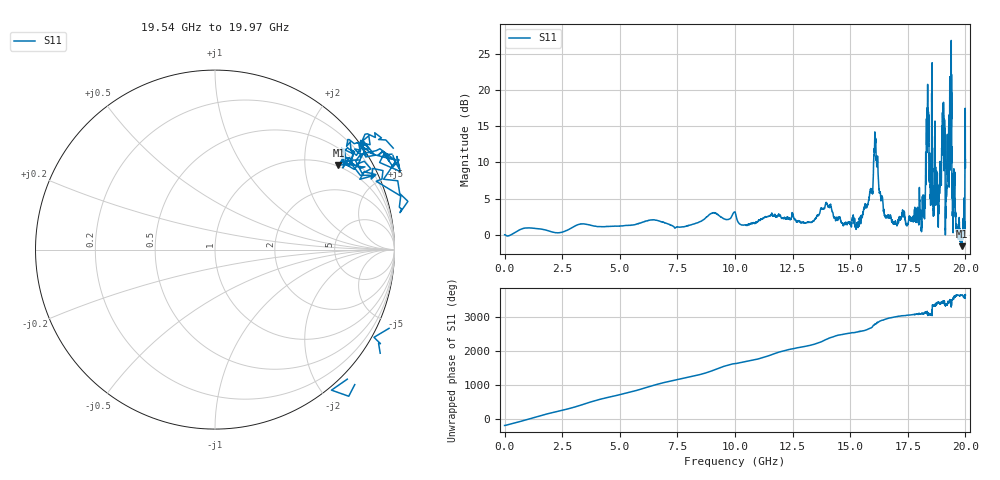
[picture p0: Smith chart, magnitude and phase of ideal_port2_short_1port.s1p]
! Created with skrf 1.8.0 (http://scikit-rf.org).
# GHz S RI R 50.0
!freq ReS11 ImS11
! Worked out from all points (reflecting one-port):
!   10001 points, 1 MHz to 20 GHz, reference 50 ohm
!   lowest |S11| = -1.6 dB at 19.84 GHz (marker M1), VSWR 11.02, Z = 47.7 + j147 ohm
!   phase of S11 starts at -180 deg and turns +3823 deg over the sweep
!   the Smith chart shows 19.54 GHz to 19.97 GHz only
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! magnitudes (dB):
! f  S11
! 1 MHz  0.0
! 2.501 GHz  0.4
! 5.001 GHz  1.2
! 7.501 GHz  1.1
! 10 GHz  3.1
! 10.43 GHz  1.4
! 12.5 GHz  3.0
! 13.33 GHz  1.7
! 14.03 GHz  4.0
! 15 GHz  1.5
! 15.76 GHz  4.1
! 16.11 GHz  13.1
! 16.31 GHz  5.7
! 16.53 GHz  2.5
! 17.5 GHz  1.5
! 18.16 GHz  5.1
! 18.36 GHz  17.5
! 18.55 GHz  15.2
! 18.79 GHz  5.0
! 18.89 GHz  8.1
! 19.02 GHz  11.4
! 19.21 GHz  11.7
! 19.31 GHz  10.5
! 19.44 GHz  2.6
! 19.53 GHz  7.9
! 19.69 GHz  -0.2
! 19.84 GHz  -1.6
! 20 GHz  10.4
